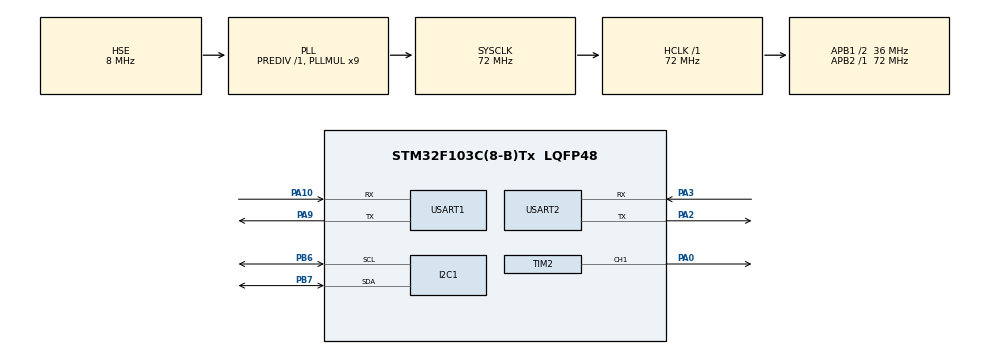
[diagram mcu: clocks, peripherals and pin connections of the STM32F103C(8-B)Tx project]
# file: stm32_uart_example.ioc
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I2C1.I2C_Mode=I2C_Fast
Mcu.Family=STM32F1
Mcu.Name=STM32F103C(8-B)Tx
Mcu.Package=LQFP48
NVIC.PriorityGroup=NVIC_PRIORITYGROUP_4
NVIC.USART1_IRQn=true\:0\:0\:false\:false\:true\:true\:true\:true
PA0-WKUP.Signal=S_TIM2_CH1_ETR
PA10.Mode=Asynchronous
PA10.Signal=USART1_RX
PA13.Mode=Serial_Wire
PA13.Signal=SYS_JTMS-SWDIO
PA14.Mode=Serial_Wire
PA14.Signal=SYS_JTCK-SWCLK
PA2.Mode=Asynchronous
PA2.Signal=USART2_TX
PA3.Mode=Asynchronous
PA3.Signal=USART2_RX
PA9.Mode=Asynchronous
PA9.Signal=USART1_TX
PB6.Mode=I2C
PB6.Signal=I2C1_SCL
PB7.Mode=I2C
PB7.Signal=I2C1_SDA
PD0-OSC_IN.Mode=HSE-External-Oscillator
PD0-OSC_IN.Signal=RCC_OSC_IN
PD1-OSC_OUT.Mode=HSE-External-Oscillator
PD1-OSC_OUT.Signal=RCC_OSC_OUT
ProjectManager.HeapSize=0x200
ProjectManager.StackSize=0x400
ProjectManager.TargetToolchain=STM32CubeIDE
RCC.AHBFreq_Value=72000000
RCC.APB1CLKDivider=RCC_HCLK_DIV2
RCC.APB1Freq_Value=36000000
RCC.APB1TimFreq_Value=72000000
RCC.APB2Freq_Value=72000000
RCC.APB2TimFreq_Value=72000000
RCC.HCLKFreq_Value=72000000
RCC.PLLMUL=RCC_PLL_MUL9
RCC.PLLSourceVirtual=RCC_PLLSOURCE_HSE
RCC.SYSCLKFreq_VALUE=72000000
RCC.SYSCLKSource=RCC_SYSCLKSOURCE_PLLCLK
RCC.USBFreq_Value=72000000
SH.S_TIM2_CH1_ETR.0=TIM2_CH1,Output Compare1 CH1
TIM2.Channel-Output\ Compare1\ CH1=TIM_CHANNEL_1
TIM2.Period=100-1
TIM2.Prescaler=72-1
USART1.VirtualMode=VM_ASYNC
USART2.VirtualMode=VM_ASYNC
VP_TIM2_VS_ClockSourceINT.Mode=Internal
board=custom

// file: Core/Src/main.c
/* USER CODE BEGIN Header */
/**
  ******************************************************************************
  * @file           : main.c
  * @brief          : Main program body
  ******************************************************************************
  * @attention
  *
  * Copyright (c) 2024 STMicroelectronics.
  * All rights reserved.
  *
  * This software is licensed under terms that can be found in the LICENSE file
  * in the root directory of this software component.
  * If no LICENSE file comes with this software, it is provided AS-IS.
  *
  ******************************************************************************
  */
/* USER CODE END Header */
#include "main.h"
#include "i2c.h"
#include "tim.h"
#include "usart.h"
#include "gpio.h"
#include "gps.h"

/* USER CODE BEGIN Includes */
#include "ssd1306.h"

#include <stdlib.h>
#include <string.h>
/* USER CODE END Includes */

/* USER CODE BEGIN PV */
char cmd_buf[256] = {0};				// received gps command
char *cmd_begin = cmd_buf;
char send_buf[256] = {0};				// send to mqtt
char display_buf[4] = {'\0'};
/* USER CODE END PV */

void SystemClock_Config(void);

int main(void)
{

  /* MCU Configuration--------------------------------------------------------*/

  /* Reset of all peripherals, Initializes the Flash interface and the Systick. */
  HAL_Init();

  /* Configure the system clock */
  SystemClock_Config();

  /* Initialize all configured peripherals */
  MX_GPIO_Init();
  MX_I2C1_Init();
  MX_TIM2_Init();
  MX_USART1_UART_Init();
  MX_USART2_UART_Init();
  /* USER CODE BEGIN 2 */
  HAL_TIM_PWM_Start(&htim2, TIM_CHANNEL_1);

  SSD1306_Init();
  //init_screen();

  HAL_Delay(5000);

  send_cmd("AT+CWMODE=3\r\n", strlen("AT+CWMODE=3\r\n"), "AT+CWMODE OK");
  HAL_Delay(4000);
  memset(send_buf, 0, 256);

  send_cmd("AT+CWJAP=\"{ssd}\",\"{password}\"\r\n", strlen("AT+CWJAP=\"{ssd}\",\"{password}\"\r\n"), "AT+CWJAP");
  HAL_Delay(4000);
  memset(send_buf, 0, 256);

  send_cmd("AT+MQTTUSERCFG=0,1,\"123cli\",\"\",\"\",0,0,\"\"\r\n", strlen("AT+MQTTUSERCFG=0,1,\"123cli\",\"\",\"\",0,0,\"\"\r\n"), "AT+MQTTUSERCFG");
  HAL_Delay(4000);
  memset(send_buf, 0, 256);

  send_cmd("AT+MQTTCONN=0,\"test.mosquitto.org\",1883,1\r\n", strlen("AT+MQTTCONN=0,\"test.mosquitto.org\",1883,1\r\n"), "AT+MQTTCONN");
  HAL_Delay(4000);
  memset(send_buf, 0, 256);

  HAL_UART_Receive_IT(&huart1, (uint8_t*)rx_buf, 1);
  /* USER CODE END 2 */

  /* Infinite loop */
  while (1)
  {
    if (rx_buf[0] == '\r') {
      char *start = cmd_buf;
      memcpy(display_buf, start + 3, 3);
      SSD1306_Clear();
      SSD1306_GotoXY (0,0);
      SSD1306_Puts (display_buf, &Font_11x18, 1);
      SSD1306_UpdateScreen();
      memset(display_buf, 0, 4);

      send_cmd("AT+MQTTPUB=0,\"qin_test\",\"hello\",0,0\r\n", strlen("AT+MQTTPUB=0,\"qin_test\",\"hello\",0,0\r\n"), "AT+MQTTPUB");
      HAL_Delay(2000);
      memset(send_buf, 0, 256);

      cmd_begin = cmd_buf;
      memset(cmd_buf, 0, 256);
      HAL_UART_Receive_IT(&huart1, (uint8_t*)rx_buf, 1);
    }
  }
}

void SystemClock_Config(void)
{
  RCC_OscInitTypeDef RCC_OscInitStruct = {0};
  RCC_ClkInitTypeDef RCC_ClkInitStruct = {0};

  /** Initializes the RCC Oscillators according to the specified parameters
  * in the RCC_OscInitTypeDef structure.
  */
  RCC_OscInitStruct.OscillatorType = RCC_OSCILLATORTYPE_HSE;
  RCC_OscInitStruct.HSEState = RCC_HSE_ON;
  RCC_OscInitStruct.HSEPredivValue = RCC_HSE_PREDIV_DIV1;
  RCC_OscInitStruct.HSIState = RCC_HSI_ON;
  RCC_OscInitStruct.PLL.PLLState = RCC_PLL_ON;
  RCC_OscInitStruct.PLL.PLLSource = RCC_PLLSOURCE_HSE;
  RCC_OscInitStruct.PLL.PLLMUL = RCC_PLL_MUL9;
  if (HAL_RCC_OscConfig(&RCC_OscInitStruct) != HAL_OK)
  {
    Error_Handler();
  }

  /** Initializes the CPU, AHB and APB buses clocks
  */
  RCC_ClkInitStruct.ClockType = RCC_CLOCKTYPE_HCLK|RCC_CLOCKTYPE_SYSCLK
                              |RCC_CLOCKTYPE_PCLK1|RCC_CLOCKTYPE_PCLK2;
  RCC_ClkInitStruct.SYSCLKSource = RCC_SYSCLKSOURCE_PLLCLK;
  RCC_ClkInitStruct.AHBCLKDivider = RCC_SYSCLK_DIV1;
  RCC_ClkInitStruct.APB1CLKDivider = RCC_HCLK_DIV2;
  RCC_ClkInitStruct.APB2CLKDivider = RCC_HCLK_DIV1;

  if (HAL_RCC_ClockConfig(&RCC_ClkInitStruct, FLASH_LATENCY_2) != HAL_OK)
  {
    Error_Handler();
  }
}

/* USER CODE BEGIN 4 */
void HAL_UART_RxCpltCallback(UART_HandleTypeDef *huart) {
  if (huart->Instance == USART1) {
	if  (rx_buf[0] == '$') {
	  cmd_begin = cmd_buf;
	  *cmd_begin = rx_buf[0];
	  cmd_begin++;
	  HAL_UART_Receive_IT(&huart1, (uint8_t*)rx_buf, 1);
	  return;
	}

	if (rx_buf[0] != '\r' && (cmd_begin - cmd_buf < 256)) {
	  *cmd_begin = rx_buf[0];
	  cmd_begin++;
	  HAL_UART_Receive_IT(&huart1, (uint8_t*)rx_buf, 1);
	}
  }
}
/* USER CODE END 4 */

void Error_Handler(void)
{
  __disable_irq();
  while (1)
  {
  }
}
